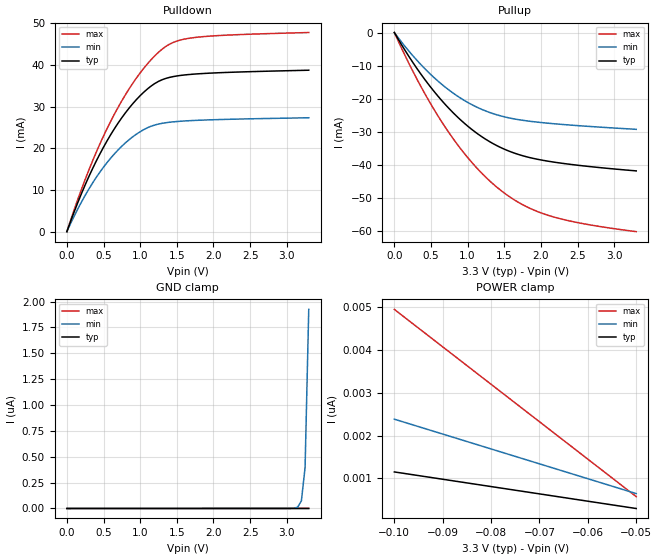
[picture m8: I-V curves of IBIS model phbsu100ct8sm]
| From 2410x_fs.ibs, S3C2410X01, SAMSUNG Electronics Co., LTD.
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[Model] phbsu100ct8sm
 Model_type  I/O
 Polarity   Non-Inverting
 Enable   Active-Low
 Vinh= 2.00
 Vinl= 0.80
|variable   typ   min   max
 C_comp   2pF   2pF   2pF
|variable   typ   min   max
[Temperature Range]   25.0   0   70
|variable   typ   min   max
[Voltage Range]   3.3V   3.0V   3.6V
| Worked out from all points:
|   slope of the pulldown table from 0 to 0.495 V, typ, clamps not added: 24.6 ohm
|   slope of the pullup table from 0 to 0.495 V, typ, clamps not added: 29.9 ohm
[POWER_clamp]
|  voltage   I(typ)   I(min)   I(max)
-100mV    1.153nA    2.386nA    4.954nA
-50mV     297.2pA    645.9pA    575.3pA
[GND_clamp]
|  voltage   I(typ)   I(min)   I(max)
0V        -239.6pA   -329.6pA   -563.8pA
3V        155pA      396.5pA    75.36pA
3.1V      166.9pA    2.386nA    89.7pA
3.15V     173.1pA    13.18nA    96.86pA
3.2V      179.8pA    74.85nA    104pA
3.25V     188.3pA    398.4nA    111.2pA
3.3V      203.8pA    1.924uA    118.4pA
[Pullup]
|  voltage   I(typ)   I(min)   I(max)
0V        203.8pA    396.5pA    206.2pA
150mV     -5.547mA   -4.313mA   -7.144mA
350mV     -12.21mA   -9.421mA   -15.85mA
500mV     -16.67mA   -12.78mA   -21.76mA
700mV     -21.92mA   -16.64mA   -28.86mA
850mV     -25.34mA   -19.09mA   -33.6mA
1.05V     -29.23mA   -21.76mA   -39.17mA
1.4V      -34.27mA   -24.93mA   -46.87mA
1.75V     -37.31mA   -26.58mA   -52.14mA
2.1V      -38.98mA   -27.47mA   -55.38mA
2.6V      -40.44mA   -28.35mA   -57.99mA
3.3V      -41.91mA   -29.32mA   -60.31mA
[Pulldown]
|  voltage   I(typ)   I(min)   I(max)
0V        -239.6pA   -329.6pA   -563.8pA
150mV     7.014mA    5.48mA     7.786mA
300mV     13.2mA     10.22mA    14.78mA
450mV     18.63mA    14.27mA    21.02mA
650mV     24.74mA    18.69mA    28.24mA
800mV     28.54mA    21.32mA    32.88mA
1V        32.62mA    23.98mA    38.08mA
1.15V     34.94mA    25.29mA    41.27mA
1.3V      36.45mA    25.99mA    43.78mA
1.5V      37.35mA    26.42mA    45.72mA
1.75V     37.81mA    26.69mA    46.59mA
3.3V      38.73mA    27.32mA    47.77mA
[Ramp]
| variable   typ   min   max
dV/dt_r  1.0552E+00/1.3167E-09   7.1736E-01/1.7444E-09   1.3619E+00/9.1106E-10
dV/dt_f  9.0767E-01/5.6274E-10   7.6480E-01/9.5867E-10   6.7496E-03/9.3272E-12
R_load = 50ohms
